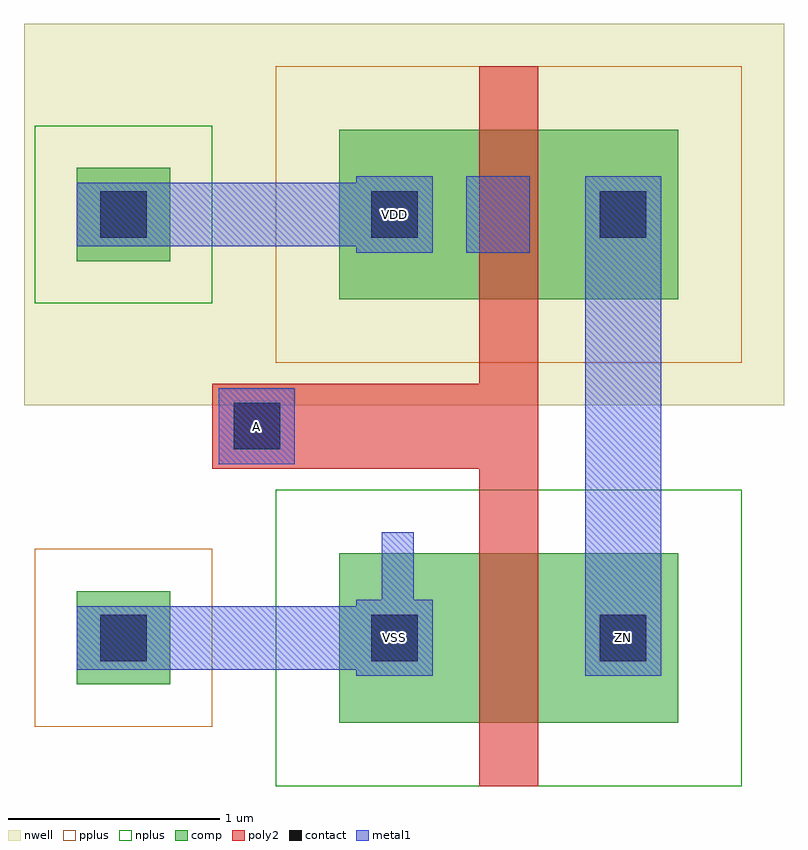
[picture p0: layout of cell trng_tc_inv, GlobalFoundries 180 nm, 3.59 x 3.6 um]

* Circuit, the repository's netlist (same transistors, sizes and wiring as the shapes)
* extracted by klt extract --deck gf180mcu

* cell trng_tc_inv
* pin A
* pin VDD
* pin VSS
* pin ZN
.SUBCKT trng_tc_inv A VDD VSS ZN
* device instance $1 r0 *1 0.8,0.4 nfet
X$1 ZN A VSS VSS nfet_03v3 L=0.28U W=0.8U AS=0.528P AD=0.528P PS=2.92U PD=2.92U
* device instance $2 r0 *1 0.8,2.4 pfet
X$2 ZN A VDD VDD pfet_03v3 L=0.28U W=0.8U AS=0.528P AD=0.528P PS=2.92U PD=2.92U
.ENDS trng_tc_inv

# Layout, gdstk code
import gdstk
lib = gdstk.Library(unit=1e-6, precision=1e-09)
def R(c, l, rs):  # rectangles x0, y0, x1, y1
    for r in rs: c.add(gdstk.rectangle(r[:2], r[2:], *l))
nwell = (21, 0)
comp = (22, 0)
poly2 = (30, 0)
pplus = (31, 0)
nplus = (32, 0)
contact = (33, 0)
metal1 = (34, 0)

trng_tc_inv = lib.new_cell('trng_tc_inv')
R(trng_tc_inv, nwell, [(-1.49,1.5,-0.4,3.3), (-0.5,1.5,2.1,3.3)])
R(trng_tc_inv, comp, [(0,0,1.6,0.8), (-1.24,0.18,-0.8,0.62), (0,2,1.6,2.8), (-1.24,2.18,-0.8,2.62)])
R(trng_tc_inv, poly2, [(0.66,-0.3,0.94,3.1), (-0.6,1.2,0.94,1.6)])
R(trng_tc_inv, pplus, [(-1.44,-0.02,-0.6,0.82), (-0.3,1.7,1.9,3.1)])
R(trng_tc_inv, nplus, [(-0.3,-0.3,1.9,1.1), (-1.44,1.98,-0.6,2.82)])
R(trng_tc_inv, contact, [(-1.13,0.29,-0.91,0.51), (0.15,0.29,0.37,0.51), (1.23,0.29,1.45,0.51), (-0.5,1.29,-0.28,1.51), (-1.13,2.29,-0.91,2.51), (0.15,2.29,0.37,2.51), (1.23,2.29,1.45,2.51)])
R(trng_tc_inv, metal1, [(0.08,0.22,0.44,0.58), (1.16,0.22,1.52,2.58), (-1.24,0.25,0.18,0.55), (0.2,0.58,0.35,0.9), (-0.57,1.22,-0.21,1.58), (0.08,2.22,0.44,2.58), (0.6,2.22,0.9,2.58), (-1.24,2.25,0.18,2.55)])
trng_tc_inv.add(gdstk.Label('A', (-0.39,1.4), layer=34, texttype=10))
trng_tc_inv.add(gdstk.Label('ZN', (1.34,0.4), layer=34, texttype=10))
trng_tc_inv.add(gdstk.Label('VDD', (0.26,2.4), layer=34, texttype=10))
trng_tc_inv.add(gdstk.Label('VSS', (0.26,0.4), layer=34, texttype=10))

lib.write_gds('trng_tc_inv.gds')
